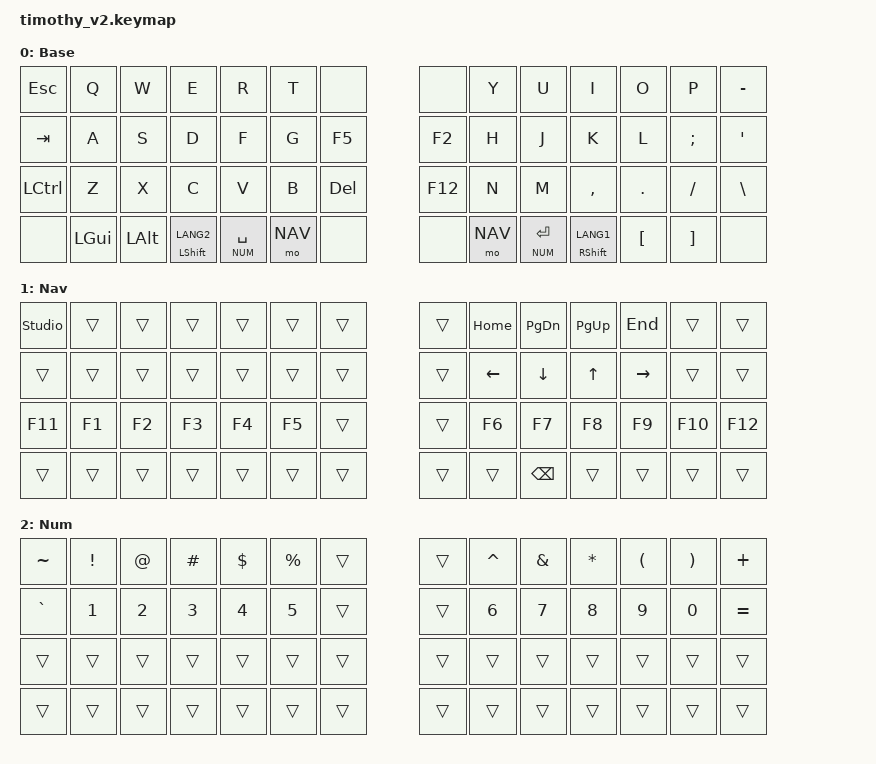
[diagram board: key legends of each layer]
#include <behaviors.dtsi>
#include <dt-bindings/zmk/bt.h>
#include <dt-bindings/zmk/keys.h>
#include <dt-bindings/zmk/outputs.h>

#define BASE 0
#define NAV  1
#define NUM  2

&lt {
    quick-tap-ms = <200>;
};

/ {
    keymap {
        compatible = "zmk,keymap";

        base_layer {
            display-name = "Base";
// ---------------------------------------------------------------------------------------------------------------------
// |  ESC  |   Q   |   W   |   E   |   R   |   T   |       |   |       |   Y   |   U   |   I   |   O   |   P   |   -   |
// |  TAB  |   A   |   S   |   D   |   F   |   G   |   F5  |   |   F2  |   H   |   J   |   K   |   L   |   ;   |   '   |
// |  CTRL |   Z   |   X   |   C   |   V   |   B   |  DEL  |   |  F12  |   N   |   M   |   ,   |   .   |   /   |   \   |
// |       |  GUI  |  ALT  | SFT/L1|NUM/SPC|  NAV  |       |   |       |  NAV  |NUM/RET| SFT/L2|   [   |   ]   |       |
// SFT/L1 = tap LANG1 / hold LSHFT, SFT/L2 = tap LANG2 / hold RSHFT
// NUM/SPC, NUM/RET = tap SPACE/RET / hold NUM layer
            bindings = <
    &kp ESC      &kp Q         &kp W         &kp E            &kp R          &kp T         &none            &none     &kp Y         &kp U        &kp I            &kp O      &kp P       &kp MINUS
    &kp TAB      &kp A         &kp S         &kp D            &kp F          &kp G         &kp F5           &kp F2    &kp H         &kp J        &kp K            &kp L      &kp SEMI    &kp SQT
    &kp LCTRL    &kp Z         &kp X         &kp C            &kp V          &kp B         &kp DEL          &kp F12   &kp N         &kp M        &kp COMMA        &kp DOT    &kp FSLH    &kp BSLH
    &none        &kp LGUI      &kp LALT      &mt LSHFT LANG2  &lt NUM SPACE  &mo NAV       &none            &none     &mo NAV       &lt NUM RET  &mt RSHFT LANG1  &kp LBKT   &kp RBKT    &none
            >;
        };

        nav_layer {
            display-name = "Nav";
// ---------------------------------------------------------------------------------------------------------------------
// |       |       |       |       |       |       |       |   |       |  HOME |  PGDN |  PGUP |  END  |       |       |
// |       |       |       |       |       |       |       |   |       |  LEFT |  DOWN |   UP  | RIGHT |       |       |
// |  F11  |   F1  |   F2  |   F3  |   F4  |   F5  |       |   |       |   F6  |   F7  |   F8  |   F9  |  F10  |  F12  |
// |       |       |       |       |       |       |       |   |       |       |  BSPC |       |       |       |       |
            bindings = <
    &studio_unlock     &trans      &trans        &trans        &trans        &trans        &trans           &trans      &kp HOME      &kp PG_DN   &kp PG_UP   &kp END    &trans     &trans
    &trans             &trans      &trans        &trans        &trans        &trans        &trans           &trans      &kp LEFT      &kp DOWN    &kp UP      &kp RIGHT  &trans     &trans
    &kp F11            &kp F1      &kp F2        &kp F3        &kp F4        &kp F5        &trans           &trans      &kp F6        &kp F7      &kp F8      &kp F9     &kp F10    &kp F12
    &trans             &trans      &trans        &trans        &trans        &trans        &trans           &trans      &trans        &kp BSPC    &trans      &trans     &trans     &trans
            >;
        };

        num_layer {
            display-name = "Num";
// ---------------------------------------------------------------------------------------------------------------------
// |   ~   |   !   |   @   |   #   |   $   |   %   |       |   |       |   ^   |   &   |   *   |   (   |   )   |   +   |
// |   `   |   1   |   2   |   3   |   4   |   5   |       |   |       |   6   |   7   |   8   |   9   |   0   |   =   |
// |       |       |       |       |       |       |       |   |       |       |       |       |       |       |       |
// |       |       |       |       |       |       |       |   |       |       |       |       |       |       |       |
            bindings = <
    &kp TILDE &kp EXCL    &kp AT        &kp HASH      &kp DLLR      &kp PRCNT     &trans           &trans      &kp CARET     &kp AMPS    &kp ASTRK   &kp LPAR   &kp RPAR   &kp PLUS
    &kp GRAVE &kp N1      &kp N2        &kp N3        &kp N4        &kp N5        &trans           &trans      &kp N6        &kp N7      &kp N8      &kp N9     &kp N0     &kp EQUAL
    &trans    &trans      &trans        &trans        &trans        &trans        &trans           &trans      &trans        &trans      &trans      &trans     &trans     &trans
    &trans    &trans      &trans        &trans        &trans        &trans        &trans           &trans      &trans        &trans      &trans      &trans     &trans     &trans
            >;
        };
    };
};
